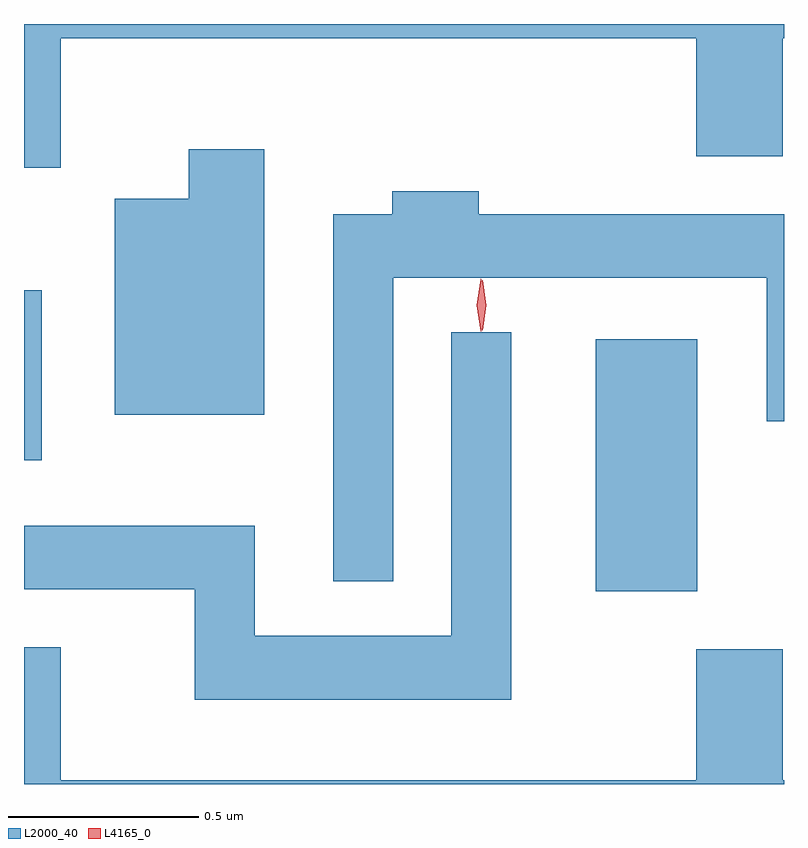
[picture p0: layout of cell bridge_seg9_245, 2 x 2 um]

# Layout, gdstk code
import gdstk
lib = gdstk.Library(unit=1e-6, precision=1e-09)
def R(c, l, rs):  # rectangles x0, y0, x1, y1
    for r in rs: c.add(gdstk.rectangle(r[:2], r[2:], *l))
def P(c, l, *ps):  # polygons
    for p in ps: c.add(gdstk.Polygon(p, *l))
L2000_40 = (2000, 40)
L4165_0 = (4165, 0)

bridge_seg9_245 = lib.new_cell('bridge_seg9_245')
R(bridge_seg9_245, L2000_40, [(1477.326,1945.961,1477.594,1946.624), (1475.822,1946.306,1475.869,1946.754)])
P(bridge_seg9_245, L2000_40, [(1475.919,1947.416),(1477.591,1947.416),(1477.591,1947.106),(1477.819,1947.106),(1477.819,1947.416),(1477.822,1947.416),(1477.822,1947.454),(1475.822,1947.454),(1475.822,1947.076),(1475.919,1947.076)],
  [(1476.454,1947.124),(1476.256,1947.124),(1476.256,1946.994),(1476.061,1946.994),(1476.061,1946.426),(1476.454,1946.426)],
  [(1476.794,1946.786),(1477.776,1946.786),(1477.776,1946.408),(1477.822,1946.408),(1477.822,1946.954),(1477.019,1946.954),(1477.019,1947.014),(1476.791,1947.014),(1476.791,1946.954),(1476.636,1946.954),(1476.636,1945.988),(1476.794,1945.988)],
  [(1477.104,1946.643),(1476.946,1946.643),(1476.946,1945.844),(1476.429,1945.844),(1476.429,1946.134),(1475.822,1946.134),(1475.822,1945.966),(1476.271,1945.966),(1476.271,1945.676),(1477.104,1945.676)],
  [(1477.822,1945.464),(1477.819,1945.464),(1477.819,1945.809),(1477.591,1945.809),(1477.591,1945.464),(1475.919,1945.464),(1475.919,1945.814),(1475.822,1945.814),(1475.822,1945.454),(1477.822,1945.454)])
P(bridge_seg9_245, L4165_0, [(1477.024,1946.645),(1477.024,1946.645),(1477.014,1946.714),(1477.024,1946.782),(1477.024,1946.783),(1477.025,1946.782),(1477.034,1946.714),(1477.025,1946.645)],
  [(1477.028,1946.648),(1477.019,1946.714),(1477.028,1946.78),(1477.029,1946.78),(1477.029,1946.78),(1477.039,1946.714),(1477.029,1946.648),(1477.029,1946.648)])

lib.write_gds('bridge_seg9_245.gds')
